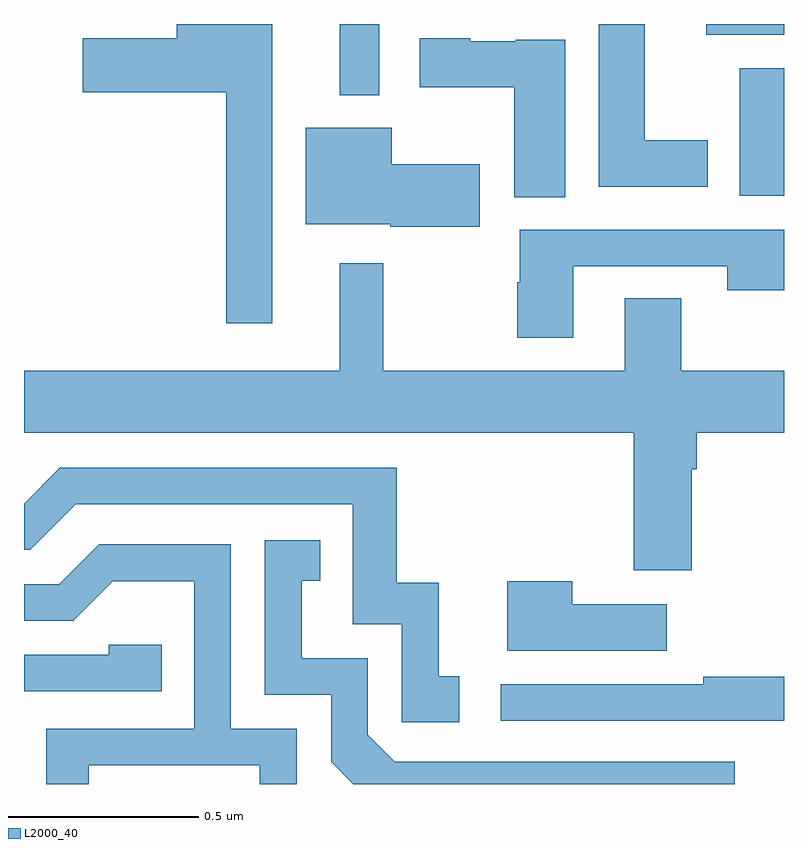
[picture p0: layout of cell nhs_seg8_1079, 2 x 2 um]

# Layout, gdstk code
import gdstk
lib = gdstk.Library(unit=1e-6, precision=1e-09)
def R(c, l, rs):  # rectangles x0, y0, x1, y1
    for r in rs: c.add(gdstk.rectangle(r[:2], r[2:], *l))
def P(c, l, *ps):  # polygons
    for p in ps: c.add(gdstk.Polygon(p, *l))
L2000_40 = (2000, 40)

nhs_seg8_1079 = lib.new_cell('nhs_seg8_1079')
R(nhs_seg8_1079, L2000_40, [(126.884,1126.448,127,1126.783), (125.831,1126.712,125.935,1126.9), (126.795,1126.872,127,1126.9)])
P(nhs_seg8_1079, L2000_40, [(125.653,1126.9),(125.402,1126.9),(125.402,1126.863),(125.154,1126.863),(125.154,1126.721),(125.532,1126.721),(125.532,1126.113),(125.653,1126.113)],
  [(126.799,1126.594),(126.634,1126.594),(126.634,1126.9),(126.512,1126.9),(126.512,1126.472),(126.799,1126.472)],
  [(126.424,1126.858),(126.294,1126.858),(126.294,1126.855),(126.174,1126.855),(126.174,1126.863),(126.042,1126.863),(126.042,1126.733),(126.29,1126.733),(126.29,1126.444),(126.424,1126.444)],
  [(126.199,1126.531),(125.968,1126.531),(125.968,1126.627),(125.741,1126.627),(125.741,1126.373),(125.964,1126.373),(125.964,1126.366),(126.199,1126.366)],
  [(126.445,1126.263),(126.85,1126.263),(126.85,1126.2),(127,1126.2),(127,1126.359),(126.305,1126.359),(126.305,1126.221),(126.298,1126.221),(126.298,1126.074),(126.445,1126.074)],
  [(126.757,1125.728),(126.77,1125.728),(126.77,1125.824),(127,1125.824),(127,1125.988),(126.729,1125.988),(126.729,1126.178),(126.581,1126.178),(126.581,1125.988),(125.945,1125.988),(125.945,1126.27),(125.831,1126.27),(125.831,1125.988),(125,1125.988),(125,1125.824),(126.605,1125.824),(126.605,1125.462),(126.757,1125.462)],
  [(126.145,1125.183),(126.092,1125.183),(126.092,1125.43),(125.981,1125.43),(125.981,1125.732),(125.094,1125.732),(125,1125.638),(125,1125.516),(125.016,1125.516),(125.136,1125.636),(125.865,1125.636),(125.865,1125.321),(125.994,1125.321),(125.994,1125.063),(126.145,1125.063)],
  [(126.87,1124.958),(125.976,1124.958),(125.904,1125.03),(125.904,1125.231),(125.731,1125.231),(125.731,1125.435),(125.78,1125.435),(125.78,1125.541),(125.634,1125.541),(125.634,1125.135),(125.808,1125.135),(125.808,1124.958),(125.867,1124.9),(126.87,1124.9)],
  [(125.17,1124.949),(125.621,1124.949),(125.621,1124.9),(125.718,1124.9),(125.718,1125.045),(125.544,1125.045),(125.544,1125.531),(125.198,1125.531),(125.093,1125.426),(125,1125.426),(125,1125.33),(125.13,1125.33),(125.234,1125.434),(125.448,1125.434),(125.448,1125.045),(125.059,1125.045),(125.059,1124.9),(125.17,1124.9)],
  [(126.691,1125.373),(126.443,1125.373),(126.443,1125.433),(126.272,1125.433),(126.272,1125.251),(126.691,1125.251)],
  [(125.363,1125.267),(125.223,1125.267),(125.223,1125.24),(125,1125.24),(125,1125.144),(125.363,1125.144)],
  [(127,1125.182),(126.787,1125.182),(126.787,1125.162),(126.255,1125.162),(126.255,1125.066),(127,1125.066)])

lib.write_gds('nhs_seg8_1079.gds')
